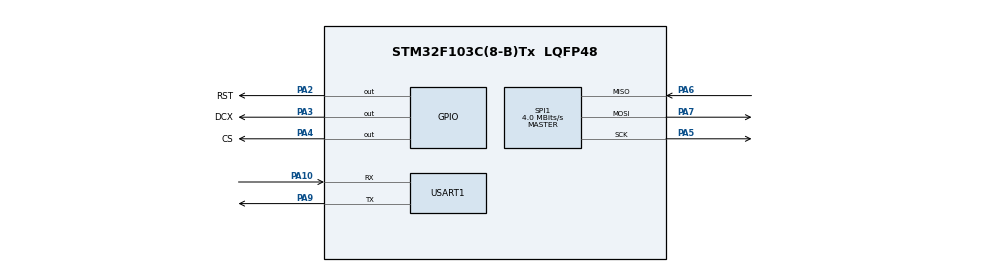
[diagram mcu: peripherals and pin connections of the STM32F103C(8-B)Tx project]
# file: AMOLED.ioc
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Mcu.Family=STM32F1
Mcu.Name=STM32F103C(8-B)Tx
Mcu.Package=LQFP48
NVIC.PriorityGroup=NVIC_PRIORITYGROUP_4
NVIC.USART1_IRQn=true\:0\:0\:false\:false\:true\:true\:true
PA10.Mode=Asynchronous
PA10.Signal=USART1_RX
PA13.Mode=Serial_Wire
PA13.Signal=SYS_JTMS-SWDIO
PA14.Mode=Serial_Wire
PA14.Signal=SYS_JTCK-SWCLK
PA2.GPIO_Label=RST
PA2.Signal=GPIO_Output
PA3.GPIO_Label=DCX
PA3.Signal=GPIO_Output
PA4.GPIO_Label=CS
PA4.Signal=GPIO_Output
PA5.Mode=Full_Duplex_Master
PA5.Signal=SPI1_SCK
PA6.Mode=Full_Duplex_Master
PA6.Signal=SPI1_MISO
PA7.Mode=Full_Duplex_Master
PA7.Signal=SPI1_MOSI
PA9.Mode=Asynchronous
PA9.Signal=USART1_TX
ProjectManager.HeapSize=0x200
ProjectManager.StackSize=0x400
ProjectManager.TargetToolchain=MDK-ARM V5
RCC.APB1Freq_Value=8000000
RCC.APB2Freq_Value=8000000
SPI1.CalculateBaudRate=4.0 MBits/s
SPI1.Direction=SPI_DIRECTION_2LINES
SPI1.Mode=SPI_MODE_MASTER
SPI1.VirtualType=VM_MASTER
USART1.VirtualMode=VM_ASYNC
board=custom

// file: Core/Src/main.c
/* USER CODE BEGIN Header */
/**
  ******************************************************************************
  * @file           : main.c
  * @brief          : Main program body
  ******************************************************************************
  * @attention
  *
  * <h2><center>&copy; Copyright (c) 2023 STMicroelectronics.
  * All rights reserved.</center></h2>
  *
  * This software component is licensed by ST under BSD 3-Clause license,
  * the "License"; You may not use this file except in compliance with the
  * License. You may obtain a copy of the License at:
  *                        opensource.org/licenses/BSD-3-Clause
  *
  ******************************************************************************
  */
/* USER CODE END Header */
#include "main.h"
#include "spi.h"
#include "usart.h"
#include "gpio.h"

/* USER CODE BEGIN PTD */
extern uint16_t font_5_8[][5];
#define RxLenth 8
uint8_t  Value[RxLenth];//接收数据存放数组
/* USER CODE END PTD */

/* USER CODE BEGIN PM */
void LCD_Init(void);

/* USER CODE END PM */

/* USER CODE BEGIN PV */

void SendDataSPI(uint8_t dat)
{
	HAL_SPI_Transmit(&hspi1, &dat, sizeof(dat), HAL_MAX_DELAY);
}

void WriteComm(unsigned int i)
{
	HAL_GPIO_WritePin(GPIOA, CS_Pin, GPIO_PIN_RESET);//片选拉低

	HAL_GPIO_WritePin(GPIOA, GPIO_PIN_3, GPIO_PIN_RESET);//C/D拉低

	SendDataSPI(i);

	HAL_GPIO_WritePin(GPIOA, CS_Pin, GPIO_PIN_SET);//片选拉高

}

void WriteData(unsigned int i)
{
	HAL_GPIO_WritePin(GPIOA, CS_Pin, GPIO_PIN_RESET);//片选拉低

	HAL_GPIO_WritePin(GPIOA, GPIO_PIN_3, GPIO_PIN_SET);//C/D拉高

	SendDataSPI(i);

	HAL_GPIO_WritePin(GPIOA, CS_Pin, GPIO_PIN_SET);//片选拉高
}

void AMOLED_Block_Write(uint16_t Xstart,uint16_t Xend,uint16_t Ystart,uint16_t Yend)
{
	WriteComm(0x2a);  //Set Column Start Address
	WriteData(Xstart>>8);
	WriteData(Xstart&0xff);
	WriteData(Xend>>8);
	WriteData(Xend&0xff);

	WriteComm(0x2b); //Set Row Start Address
	WriteData(Ystart>>8);
	WriteData(Ystart&0xff);
	WriteData(Yend>>8);
	WriteData(Yend&0xff);

	WriteComm(0x2c); //Memory Write
}

void Write_Disp_Data(uint16_t val)
{
	HAL_GPIO_WritePin(GPIOA, CS_Pin, GPIO_PIN_RESET);//片选拉低
	HAL_GPIO_WritePin(GPIOA, GPIO_PIN_3, GPIO_PIN_SET);//C/D拉高
	SendDataSPI(val);
	HAL_GPIO_WritePin(GPIOA, CS_Pin, GPIO_PIN_SET);//片选拉高
}

void AMOLED_Clear(uint16_t Column,uint16_t ROW,uint16_t color)
{
	uint16_t i,j;

	AMOLED_Block_Write(0,Column-1,0,ROW-1);

	for(i=0;i<Column;i++)
		for(j=0;j<ROW;j++)
			{
				Write_Disp_Data(color);
			}

}

void Disp(uint8_t Num)
{
		uint8_t j;

		for(j=0;j<8;j++)
		{
			if (Value[Num] & (0x80 >> (j % 8))) {
				Write_Disp_Data(0xffff);
				Write_Disp_Data(0xffff);
				Write_Disp_Data(0xffff);
			} else {
				Write_Disp_Data(0x0000);
				Write_Disp_Data(0x0000);
				Write_Disp_Data(0x0000);
			}
		}

		for(j=0;j<8;j++)
		{
			if (Value[Num+1] & (0x80 >> (j % 8))) {
				Write_Disp_Data(0xffff);
				Write_Disp_Data(0xffff);
				Write_Disp_Data(0xffff);
			} else {
				Write_Disp_Data(0x0000);
				Write_Disp_Data(0x0000);
				Write_Disp_Data(0x0000);
			}
		}
}

//字体=8高5宽
void LCD_font_5_7(void)
{

	uint8_t j=Value[7];
	//for(j=0;j<3;j++)
	//{
		AMOLED_Block_Write(Value[6],Value[6]+7,j,Value[7]+10);
		Disp(0);

		AMOLED_Block_Write(Value[6],Value[6]+7,j+2,Value[7]+10);
		Disp(2);

		AMOLED_Block_Write(Value[6],Value[6]+7,j+4,Value[7]+10);
		Disp(4);
	//}

//		uint16_t j;

//		for(j=0;j<8;j++)
//		{
//			if (Value[0] & (0x80 >> (j % 8))) {
//				Write_Disp_Data(0xffff);
//				Write_Disp_Data(0xffff);
//				Write_Disp_Data(0xffff);
//			} else {
//				Write_Disp_Data(0x0000);
//				Write_Disp_Data(0x0000);
//				Write_Disp_Data(0x0000);
//			}
//		}

//		for(j=0;j<8;j++)
//		{
//			if (Value[1] & (0x80 >> (j % 8))) {
//				Write_Disp_Data(0xffff);
//				Write_Disp_Data(0xffff);
//				Write_Disp_Data(0xffff);
//			} else {
//				Write_Disp_Data(0x0000);
//				Write_Disp_Data(0x0000);
//				Write_Disp_Data(0x0000);
//			}
//		}

}

void HAL_UART_RxCpltCallback(UART_HandleTypeDef *Uarthandle)
{
	HAL_UART_Receive_IT(&huart1,(uint8_t*)&Value,RxLenth);
	LCD_font_5_7();
}

/* USER CODE END PV */

void SystemClock_Config(void);

int main(void)
{

  /* MCU Configuration--------------------------------------------------------*/

  /* Reset of all peripherals, Initializes the Flash interface and the Systick. */
  HAL_Init();

  /* Configure the system clock */
  SystemClock_Config();

  /* Initialize all configured peripherals */
  MX_GPIO_Init();
  MX_SPI1_Init();
  MX_USART1_UART_Init();
  /* USER CODE BEGIN 2 */

	LCD_Init();

	HAL_UART_Receive_IT(&huart1,(uint8_t*)&Value,RxLenth);

//	uint8_t id[3];

//	HAL_SPI_Receive(&hspi1,id,3,HAL_MAX_DELAY);

//	AMOLED_Clear(120,120,0xffff);//经测试能用

//	AMOLED_Clear(120,120,0x0000);//经测试能用

	//uint16_t color=0xffff;
	//ST7789_DrawImage(0,0,128,128,(uint16_t *)saber);
  /* USER CODE END 2 */

  /* Infinite loop */
  while (1)
  {

  }
}

void SystemClock_Config(void)
{
  RCC_OscInitTypeDef RCC_OscInitStruct = {0};
  RCC_ClkInitTypeDef RCC_ClkInitStruct = {0};

  /** Initializes the RCC Oscillators according to the specified parameters
  * in the RCC_OscInitTypeDef structure.
  */
  RCC_OscInitStruct.OscillatorType = RCC_OSCILLATORTYPE_HSI;
  RCC_OscInitStruct.HSIState = RCC_HSI_ON;
  RCC_OscInitStruct.HSICalibrationValue = RCC_HSICALIBRATION_DEFAULT;
  RCC_OscInitStruct.PLL.PLLState = RCC_PLL_NONE;
  if (HAL_RCC_OscConfig(&RCC_OscInitStruct) != HAL_OK)
  {
    Error_Handler();
  }
  /** Initializes the CPU, AHB and APB buses clocks
  */
  RCC_ClkInitStruct.ClockType = RCC_CLOCKTYPE_HCLK|RCC_CLOCKTYPE_SYSCLK
                              |RCC_CLOCKTYPE_PCLK1|RCC_CLOCKTYPE_PCLK2;
  RCC_ClkInitStruct.SYSCLKSource = RCC_SYSCLKSOURCE_HSI;
  RCC_ClkInitStruct.AHBCLKDivider = RCC_SYSCLK_DIV1;
  RCC_ClkInitStruct.APB1CLKDivider = RCC_HCLK_DIV1;
  RCC_ClkInitStruct.APB2CLKDivider = RCC_HCLK_DIV1;

  if (HAL_RCC_ClockConfig(&RCC_ClkInitStruct, FLASH_LATENCY_0) != HAL_OK)
  {
    Error_Handler();
  }
}

/* USER CODE BEGIN 4 */
void LCD_Init(void)
{
	HAL_GPIO_WritePin(GPIOA, RST_Pin, GPIO_PIN_SET);//RST=1;
	HAL_Delay(30);

 //========turly0.95_code=====69310=============//

WriteComm(0xFE);WriteData(0x01);
WriteComm(0x04);WriteData(0xa0);  //SPI write ram enable
WriteComm(0x05);WriteData(0x70);  //128RGB);;LCDSPI_InitDAT( T->B);;LCDSPI_InitDAT( NW
WriteComm(0x06);WriteData(0x3C);  //NL = 240 line
WriteComm(0x25);WriteData(0x06);  //normal mode: gamma1);;LCDSPI_InitDAT( 24bit
WriteComm(0x26);WriteData(0x80);  //T1A = 280(640 * 100ns = 64us);
WriteComm(0x27);WriteData(0x12);  //normal mode VBP = 12   0c
WriteComm(0x28);WriteData(0x12);  //normal mode VFP = 8    08
WriteComm(0x2A);WriteData(0x06);  //idle mode: gamma1);;LCDSPI_InitDAT( 24bit
WriteComm(0x2B);WriteData(0x80);  //T1B = 280(640 * 100ns = 64us);
WriteComm(0x2D);WriteData(0x12);  //idle mode VBP = 12   0c
WriteComm(0x2F);WriteData(0x12);  //idle mode VFP = 8    08
WriteComm(0x37);WriteData(0x0C);  //precharge to VGSP);;LCDSPI_InitDAT( mux 1:6
WriteComm(0x6D);WriteData(0x18);  //skip frame VGMP and VGSP regulator off
WriteComm(0x29);WriteData(0x01);  //normal mode skip frame off
WriteComm(0x30);WriteData(0x43);  //idle mode skip frame = 60/2 = 30Hz
WriteComm(0x0E);WriteData(0x83);  //AVDD = 5.6V normal mode
WriteComm(0x0F);WriteData(0x83);  //AVDD = 5.6V idle mode
WriteComm(0x10);WriteData(0x71);  //AVDD = 3xVCI);;LCDSPI_InitDAT( AVDD regulator enable);;LCDSPI_InitDAT(VCL regulator enable
WriteComm(0x11);WriteData(0xb3);  //VCL = -2xVCI);;LCDSPI_InitDAT( normal mode
WriteComm(0x12);WriteData(0xb3);  //VCL = -2xVCI);;LCDSPI_InitDAT( idle mode
WriteComm(0x13);WriteData(0x80);  //VGH = AVDD normal mode
WriteComm(0x14);WriteData(0x80);  //VGH = AVDD idle mode
WriteComm(0x15);WriteData(0x81);  //VGL = VCL - VCI normal mode
WriteComm(0x16);WriteData(0x81);  //VGL = VCL - VCI idle mode
WriteComm(0x18);WriteData(0x66);  //VGHR = 6V normal/idle mode
WriteComm(0x19);WriteData(0x44);  //VGLR =  -6V normal/idle mode
WriteComm(0x1E);WriteData(0x02);  //Switch EQ on
WriteComm(0x5B);WriteData(0x10);  //VREFN5 on
WriteComm(0x62);WriteData(0x19);  //VREFN5 = -3V normal mode
WriteComm(0x63);WriteData(0x19);  //VREFN5 = -3V idle mode
WriteComm(0x70);WriteData(0x55);  //display off SD to AVDD);;LCDSPI_InitDAT( display on SD to AVDD
WriteComm(0x1D);WriteData(0x02);  //Switch EQ on
WriteComm(0x89);WriteData(0x18);  //VGMP =118 );;LCDSPI_InitDAT(5.5V
WriteComm(0x8A);WriteData(0xb9);  //VGSP = 090 );;LCDSPI_InitDAT(2V
WriteComm(0x8B);WriteData(0x01);  //VGMP VGSP high byte
WriteComm(0x8C);WriteData(0x10);  //VGMP = 110 );;LCDSPI_InitDAT(5.4V
WriteComm(0x8D);WriteData(0x90);  //VGSP = 090 );;LCDSPI_InitDAT(2V
WriteComm(0x8E);WriteData(0x01);  //VGMP VGSP high byte
WriteComm(0x6E);WriteData(0x0A);  //MIPI interface off
WriteComm(0x6A);WriteData(0x05); //MUX
WriteComm(0x3A);WriteData(0x08);  //T1_sd
WriteComm(0x3B);WriteData(0x00);  //Tp_sd
WriteComm(0x3D);WriteData(0x16);  //Th_sd
WriteComm(0x3F);WriteData(0x27);  //Tsw_sd
WriteComm(0x40);WriteData(0x0F);  //Thsw_sd
WriteComm(0x41);WriteData(0x0D);  //Thsd_sd

WriteComm(0x42);WriteData(0x14);  //Mux 142536);;LCDSPI_InitDAT( odd/even line SWAP
WriteComm(0x43);WriteData(0x41);
WriteComm(0x44);WriteData(0x25);
WriteComm(0x45);WriteData(0x52);
WriteComm(0x46);WriteData(0x36);
WriteComm(0x47);WriteData(0x63);
WriteComm(0x48);WriteData(0x14);
WriteComm(0x49);WriteData(0x41);
WriteComm(0x4A);WriteData(0x25);
WriteComm(0x4B);WriteData(0x52);
WriteComm(0x4C);WriteData(0x36);
WriteComm(0x4D);WriteData(0x63);
WriteComm(0x4E);WriteData(0x14); //Data R1R2G1G2B1B2);;LCDSPI_InitDAT( odd/even line SWAP
WriteComm(0x4F);WriteData(0x41);
WriteComm(0x50);WriteData(0x25);
WriteComm(0x51);WriteData(0x52);
WriteComm(0x52);WriteData(0x36);
WriteComm(0x53);WriteData(0x63);
WriteComm(0x54);WriteData(0x14);
WriteComm(0x55);WriteData(0x41);
WriteComm(0x56);WriteData(0x25);
WriteComm(0x57);WriteData(0x52);
WriteComm(0x58);WriteData(0x36);
WriteComm(0x59);WriteData(0x63);

WriteComm(0x66);WriteData(0x90);  //idle mode internal power
WriteComm(0x67);WriteData(0x40);  //internal power delay 1 frame off
WriteComm(0x72);WriteData(0x1A);  //internal OVDD = 4.6V
WriteComm(0x73);WriteData(0x07);  //internal OVSS = -2V
WriteComm(0x74);WriteData(0x0C);  //OVDD power from AVDD);;LCDSPI_InitDAT( source power from AVDD
WriteComm(0x6A);WriteData(0x3D);  //swire 61=0x3D pulse);;LCDSPI_InitDAT( 4.6V for SGM38042
WriteComm(0x6B);WriteData(0x29);  //swire 41=0x29 pulse);;LCDSPI_InitDAT( -2.4V for SGM38042

WriteComm(0xFE);WriteData(0x04);
WriteComm(0x5E);WriteData(0x01);
WriteComm(0x5F);WriteData(0xB8);
WriteComm(0x60);WriteData(0xBB);
WriteComm(0x61);WriteData(0xBB);
WriteComm(0x62);WriteData(0xBB);
WriteComm(0x76);WriteData(0xBB);
WriteComm(0x77);WriteData(0x3B);
WriteComm(0x78);WriteData(0x92);
WriteComm(0x79);WriteData(0xBB);
WriteComm(0x7A);WriteData(0xBB);

WriteComm(0x00);WriteData(0xDC);  //SN_CK1
WriteComm(0x01);WriteData(0x00);
WriteComm(0x02);WriteData(0x02);
WriteComm(0x03);WriteData(0x00);
WriteComm(0x04);WriteData(0x08);
WriteComm(0x05);WriteData(0x01);
WriteComm(0x06);WriteData(0x70);
WriteComm(0x07);WriteData(0x0A);
WriteComm(0x08);WriteData(0x00);

WriteComm(0x09);WriteData(0xDC);  //SN_CK2
WriteComm(0x0a);WriteData(0x00);
WriteComm(0x0b);WriteData(0x02);
WriteComm(0x0C);WriteData(0x00);
WriteComm(0x0D);WriteData(0x08);
WriteComm(0x0E);WriteData(0x00);
WriteComm(0x0F);WriteData(0x70);
WriteComm(0x10);WriteData(0x0A);
WriteComm(0x11);WriteData(0x00);

WriteComm(0x12);WriteData(0xCC);  //EM_CK1
WriteComm(0x13);WriteData(0x00);
WriteComm(0x14);WriteData(0x02);
WriteComm(0x15);WriteData(0x00);
WriteComm(0x16);WriteData(0x20);
WriteComm(0x17);WriteData(0x00);
WriteComm(0x18);WriteData(0x28);
WriteComm(0x19);WriteData(0x26);
WriteComm(0x1A);WriteData(0x00);

WriteComm(0x1B);WriteData(0xCC);  //EM_CK2
WriteComm(0x1C);WriteData(0x00);
WriteComm(0x1D);WriteData(0x02);
WriteComm(0x1E);WriteData(0x00);
WriteComm(0x1F);WriteData(0x20);
WriteComm(0x20);WriteData(0x01);
WriteComm(0x21);WriteData(0x28);
WriteComm(0x22);WriteData(0x26);
WriteComm(0x23);WriteData(0x00);

WriteComm(0x4C);WriteData(0x89);  //SN_STV
WriteComm(0x4D);WriteData(0x00);
WriteComm(0x4E);WriteData(0x01);
WriteComm(0x4F);WriteData(0x00);
WriteComm(0x50);WriteData(0x01);
WriteComm(0x51);WriteData(0xBB);
WriteComm(0x52);WriteData(0xBB);

WriteComm(0x53);WriteData(0xCA);  //EM_STV
WriteComm(0x54);WriteData(0x00);
WriteComm(0x55);WriteData(0x03);
WriteComm(0x56);WriteData(0x00);
WriteComm(0x58);WriteData(0x00);
WriteComm(0x59);WriteData(0x00);
WriteComm(0x65);WriteData(0x45);  //04
WriteComm(0x66);WriteData(0x0C);  //03
WriteComm(0x67);WriteData(0x00);  //10

WriteComm(0xFE);WriteData(0x01);//ID
WriteComm(0xE5);WriteData(0x00);
WriteComm(0xE6);WriteData(0x10);
WriteComm(0xE7);WriteData(0x31);
WriteComm(0xFE);WriteData(0x00);
WriteComm(0xC4);WriteData(0x80);
WriteComm(0x2A);WriteData(0x00);WriteData(0x04);WriteData(0x00);WriteData(0x7B);

WriteComm(0x11);WriteData(0x00);
HAL_Delay(150);
WriteComm(0x29);WriteData(0x00);
}
/* USER CODE END 4 */

void Error_Handler(void)
{
  __disable_irq();
  while (1)
  {
  }
}

/************************ (C) COPYRIGHT STMicroelectronics *****END OF FILE****/
